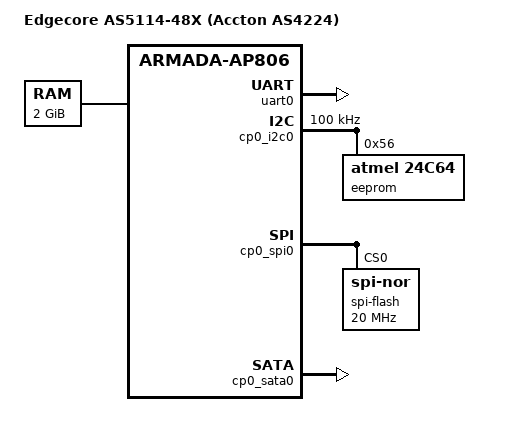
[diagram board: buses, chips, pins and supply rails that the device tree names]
// SPDX-License-Identifier: GPL-2.0+
/*
 * Edgecore AS5114-48X (an Accton AS4224 board) -- U-Boot control device
 * tree for the RAM-chainloaded mainline U-Boot (../default.nix).
 *
 * Only what this U-Boot needs to boot the SSD: the console, the I2C bus of
 * the ONIE TLV EEPROM (MACs), the SATA controller, and the boot SPI NOR
 * (probe/read only: the build is SPI_FLASH_READ_ONLY). Linux does NOT use
 * this tree. Networking, USB, PCIe and the AP I2C bus (CPLD @ 0x40) are left
 * off: this U-Boot does not need them.
 *
 * Every value below is from this unit's own images (host-side dumps, no live
 * reads), not from the TN48M:
 *  - pin-func arrays and the comphy lane plan: the factory U-Boot's control
 *    DTB, verbatim (SPI mtd0 offset 0x19ce9c, 0x3bf2 bytes; Marvell U-Boot
 *    2019.10-10.0.0, built from the "armada7040-db" tree). That is what the
 *    factory U-Boot programs on this board before it starts us. The lane plan
 *    matches its boot banner (Comphy-0 PEX0 5G ... Comphy-5 SGMII2 1.25G).
 *  - which controller is which: the DENT/ONL Linux DTB accton-as4224.dtb
 *    (UART ap806 0x512000; TLV EEPROM at24@56 on cp0 i2c@701000; SATA cp0
 *    0x540000 on comphy lane 1; boot flash cp0 spi@700600 CS0), the BootROM
 *    line "Secure boot from SPI NOR flash 0 (0x34)" (0x34 = CP_SPI_0) and
 *    U-Boot's live "i2c probe" (0x56 answers on cp0 i2c@701000).
 * Both pin-func arrays happen to equal the TN48M's, byte for byte.
 */

/dts-v1/;

#include "armada-7040.dtsi"

/ {
	model = "Edgecore AS5114-48X (Accton AS4224)";
	compatible = "accton,as5114-48x", "marvell,armada-7040-as4224",
		     "marvell,armada7040", "marvell,armada-ap806-quad",
		     "marvell,armada-ap806";

	chosen {
		stdout-path = "serial0:115200n8";
	};

	aliases {
		i2c0 = &cp0_i2c0;
		spi0 = &cp0_spi0;
	};

	/* Only a placeholder: U-Boot sizes DRAM from ATF (MV_SIP_DRAM_SIZE). */
	memory@00000000 {
		device_type = "memory";
		reg = <0x0 0x0 0x0 0x80000000>;
	};
};

&ap_pinctl {
	/* factory: MPP 0-3 = 3 (AP SPI, TPM), 4-5 = 3 (AP I2C), 11/19 = 3 (UART0) */
		  /* 0 1 2 3 4 5 6 7 8 9 */
	pin-func = < 3 3 3 3 3 3 0 0 0 0
		     0 3 0 0 0 0 0 0 0 3 >;
};

/* ap806 serial@512000, 115200 8N1 (the factory console). */
&uart0 {
	status = "okay";
};

&cp0_pinctl {
	/* factory CP0 MPP functions, verbatim: 0-1 = 0xa (MDIO), 29 = 9,
	 * 35-36 = 2 (cp0 i2c@701100), 37-38 = 2 (cp0 i2c@701000),
	 * 56-59 = 6 (cp0 spi@700600, the boot flash). */
		  /*  0   1   2   3   4   5   6   7   8   9 */
	pin-func = < 0xa 0xa 0   0   0   0   0   0   0   0
		     0   0   0   0   0   0   0   0   0   0
		     0   0   0   0   0   0   0   0   0   9
		     0   0   0   0   0   2   2   2   2   0
		     0   0   0   0   0   0   0   0   0   0
		     0   0   0   0   0   0   6   6   6   6
		     0   0   0 >;
};

/* cp0 i2c@701000 (ONL's i2c1). Also on it: LM75s @ 0x48 0x49 0x4b 0x4c and
 * an unidentified 0x5e; U-Boot needs only the EEPROM. */
&cp0_i2c0 {
	status = "okay";
	clock-frequency = <100000>;

	/* ONIE TlvInfo EEPROM (base MAC f8:8e:a1:94:83:00, 65 MACs).
	 * CONFIG_ID_EEPROM's mac_read_from_eeprom() turns it into ethaddr,
	 * eth1addr, ...; the EFI DT fixup hands those to the Linux DT. */
	eeprom@56 {
		compatible = "atmel,24c64";
		reg = <0x56>;
		pagesize = <32>;
	};
};

/* Boot SPI NOR, mx25l12845g 16 MiB, CS0: mtd0 0x0 signed boot image,
 * mtd1 0x200000 factory env, mtd2 0x210000 ONIE. Read-only build; this
 * U-Boot keeps its env nowhere and has no way to write here. 20 MHz is
 * deliberately slow (factory: 108 MHz flash, 50 MHz controller). */
&cp0_spi0 {
	status = "okay";

	spi-flash@0 {
		#address-cells = <1>;
		#size-cells = <1>;
		compatible = "jedec,spi-nor";
		reg = <0>;
		spi-max-frequency = <20000000>;
	};
};

/* AHCI at cp0 0x540000; the SSD (ADATA IM2S3164, 32 GB) is on comphy lane 1. */
&cp0_sata0 {
	status = "okay";
};

/* The factory lane plan, verbatim, so the comphy driver leaves every SerDes
 * lane as the factory U-Boot set it: lane 1 is the SSD, lane 0 the Prestera
 * ASIC's PCIe link, 2/3/5 the mvpp2 SGMII ports Linux will use. */
&cp0_comphy {
	phy0 {
		phy-type = <COMPHY_TYPE_PEX0>;
		phy-speed = <COMPHY_SPEED_5G>;
	};

	phy1 {
		phy-type = <COMPHY_TYPE_SATA0>;
		phy-speed = <COMPHY_SPEED_6G>;
	};

	phy2 {
		phy-type = <COMPHY_TYPE_SGMII0>;
		phy-speed = <COMPHY_SPEED_3_125G>;
	};

	phy3 {
		phy-type = <COMPHY_TYPE_SGMII1>;
		phy-speed = <COMPHY_SPEED_1_25G>;
	};

	phy4 {
		phy-type = <COMPHY_TYPE_UNCONNECTED>;
	};

	phy5 {
		phy-type = <COMPHY_TYPE_SGMII2>;
		phy-speed = <COMPHY_SPEED_1_25G>;
	};
};
